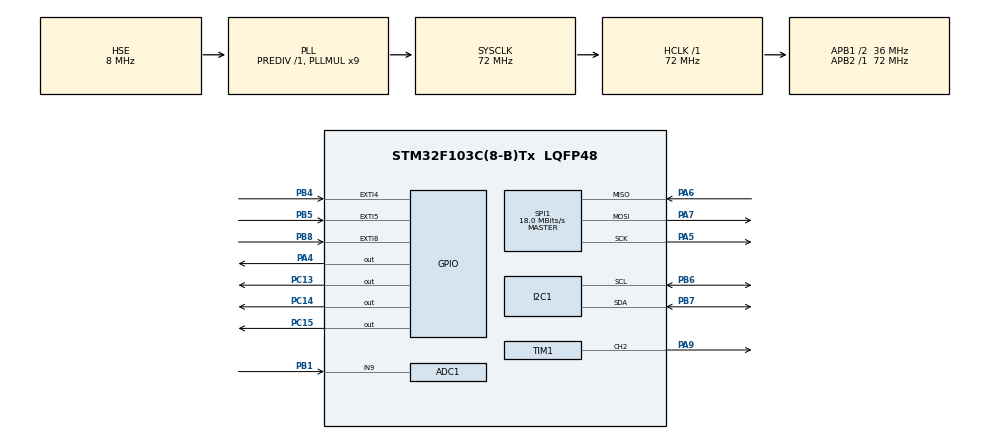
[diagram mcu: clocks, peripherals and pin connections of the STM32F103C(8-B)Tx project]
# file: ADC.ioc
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ADC1.Channel-0\#ChannelRegularConversion=ADC_CHANNEL_9
ADC1.ContinuousConvMode=ENABLE
ADC1.NbrOfConversion=1
ADC1.NbrOfConversionFlag=1
ADC1.Rank-0\#ChannelRegularConversion=1
ADC1.SamplingTime-0\#ChannelRegularConversion=ADC_SAMPLETIME_1CYCLE_5
ADC1.master=1
FATFS._MAX_SS=4096
FATFS._USE_LFN=1
I2C1.I2C_Mode=I2C_Fast
Mcu.Family=STM32F1
Mcu.Name=STM32F103C(8-B)Tx
Mcu.Package=LQFP48
NVIC.EXTI4_IRQn=true\:0\:0\:false\:false\:true\:true\:true\:true
NVIC.EXTI9_5_IRQn=true\:0\:0\:false\:false\:true\:true\:true\:true
NVIC.PriorityGroup=NVIC_PRIORITYGROUP_4
NVIC.TIM2_IRQn=true\:0\:0\:false\:false\:true\:true\:true\:true
PA13.Mode=Serial_Wire
PA13.Signal=SYS_JTMS-SWDIO
PA14.Mode=Serial_Wire
PA14.Signal=SYS_JTCK-SWCLK
PA4.Signal=GPIO_Output
PA5.Mode=Full_Duplex_Master
PA5.Signal=SPI1_SCK
PA6.Mode=Full_Duplex_Master
PA6.Signal=SPI1_MISO
PA7.Mode=Full_Duplex_Master
PA7.Signal=SPI1_MOSI
PA9.Signal=S_TIM1_CH2
PB1.Signal=ADCx_IN9
PB4.GPIO_PuPd=GPIO_PULLDOWN
PB4.Signal=GPXTI4
PB5.GPIO_PuPd=GPIO_PULLDOWN
PB5.Signal=GPXTI5
PB6.Mode=I2C
PB6.Signal=I2C1_SCL
PB7.Mode=I2C
PB7.Signal=I2C1_SDA
PB8.GPIO_ModeDefaultEXTI=GPIO_MODE_IT_RISING
PB8.GPIO_PuPd=GPIO_PULLDOWN
PB8.Signal=GPXTI8
PC13-TAMPER-RTC.Signal=GPIO_Output
PC14-OSC32_IN.Signal=GPIO_Output
PC15-OSC32_OUT.Signal=GPIO_Output
PD0-OSC_IN.Mode=HSE-External-Oscillator
PD0-OSC_IN.Signal=RCC_OSC_IN
PD1-OSC_OUT.Mode=HSE-External-Oscillator
PD1-OSC_OUT.Signal=RCC_OSC_OUT
ProjectManager.HeapSize=0x200
ProjectManager.StackSize=0x400
ProjectManager.TargetToolchain=STM32CubeIDE
RCC.ADCPresc=RCC_ADCPCLK2_DIV6
RCC.AHBFreq_Value=72000000
RCC.APB1CLKDivider=RCC_HCLK_DIV2
RCC.APB1Freq_Value=36000000
RCC.APB1TimFreq_Value=72000000
RCC.APB2Freq_Value=72000000
RCC.APB2TimFreq_Value=72000000
RCC.HCLKFreq_Value=72000000
RCC.PLLMUL=RCC_PLL_MUL9
RCC.PLLSourceVirtual=RCC_PLLSOURCE_HSE
RCC.SYSCLKFreq_VALUE=72000000
RCC.SYSCLKSource=RCC_SYSCLKSOURCE_PLLCLK
RCC.USBFreq_Value=72000000
SH.ADCx_IN9.0=ADC1_IN9,IN9
SH.S_TIM1_CH2.0=TIM1_CH2,PWM Generation2 CH2
SPI1.BaudRatePrescaler=SPI_BAUDRATEPRESCALER_4
SPI1.CalculateBaudRate=18.0 MBits/s
SPI1.Direction=SPI_DIRECTION_2LINES
SPI1.Mode=SPI_MODE_MASTER
SPI1.VirtualType=VM_MASTER
TIM1.Channel-PWM\ Generation2\ CH2=TIM_CHANNEL_2
TIM1.Period=20
TIM1.Prescaler=127
TIM2.AutoReloadPreload=TIM_AUTORELOAD_PRELOAD_DISABLE
TIM2.Period=200
TIM2.Prescaler=35999
TIM3.Period=20
TIM3.Prescaler=127
VP_FATFS_VS_Generic.Mode=User_defined
VP_TIM1_VS_ClockSourceINT.Mode=Internal
VP_TIM2_VS_ClockSourceINT.Mode=Internal
VP_TIM3_VS_ClockSourceINT.Mode=Internal
board=custom

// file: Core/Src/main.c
/* USER CODE BEGIN Header */
/**
  ******************************************************************************
  * @file           : main.c
  * @brief          : Main program body
  ******************************************************************************
  * @attention
  *
  * Copyright (c) 2023 STMicroelectronics.
  * All rights reserved.
  *
  * This software is licensed under terms that can be found in the LICENSE file
  * in the root directory of this software component.
  * If no LICENSE file comes with this software, it is provided AS-IS.
  *
  ******************************************************************************
  */
/* USER CODE END Header */
#include "main.h"
#include "fatfs.h"
#include "fonts.h"
#include"ssd1306_oled.h"
#include <stdio.h>
#include <stdbool.h>

ADC_HandleTypeDef hadc1;

I2C_HandleTypeDef hi2c1;

SPI_HandleTypeDef hspi1;

TIM_HandleTypeDef htim1;
TIM_HandleTypeDef htim2;
TIM_HandleTypeDef htim3;

/* USER CODE BEGIN PV */
FATFS fs;
FIL fil;
/* USER CODE END PV */

void SystemClock_Config(void);
static void MX_GPIO_Init(void);
static void MX_ADC1_Init(void);
static void MX_I2C1_Init(void);
static void MX_TIM2_Init(void);
static void MX_SPI1_Init(void);
static void MX_TIM3_Init(void);
static void MX_TIM1_Init(void);

/* USER CODE BEGIN 0 */

bool FirstTime = true;
uint16_t opcion = 1;
uint16_t timerValue = 0;  //TIEMPO EN MILISEGUNDOS
uint16_t timerSecond = 0; //TIEMPO EN SEGUNDOS
uint16_t SavedTime = 0;

char buf_oled[5] = " ";  //BUF PARA TIEMPO
char buf_oled2[5] = " "; //BUF PARA EL USUARIO, LO PUEDO USAR PARA MOSTRAR EL TIEMPO ya que el user lo guardo al inicio y despues no lo uso mas
char buf_shoot[5] = " "; // BUF PARA MOSTRAR DISPAROS
uint8_t user = 1;		//JUGADOR
uint16_t shoot = 0;    //DISPAROS
uint16_t timeshoot = 0; //PARA QUE NO SE PRODUZCAN DISPAROS EN LOS MISMOS 100MS
uint8_t SD = 0;
bool FirstTimeDelete = true;
/* USER CODE END 0 */

int main(void)
{

  /* MCU Configuration--------------------------------------------------------*/

  /* Reset of all peripherals, Initializes the Flash interface and the Systick. */
  HAL_Init();

  /* Configure the system clock */
  SystemClock_Config();

  /* Initialize all configured peripherals */
  MX_GPIO_Init();
  MX_ADC1_Init();
  MX_I2C1_Init();
  MX_TIM2_Init();
  MX_FATFS_Init();
  MX_SPI1_Init();
  MX_TIM3_Init();
  MX_TIM1_Init();
  /* USER CODE BEGIN 2 */
  HAL_TIM_PWM_Start(&htim1, TIM_CHANNEL_2);
  SSD1306_Init();
  /* USER CODE END 2 */

  /* Infinite loop */
  while (1)
  {

    /* USER CODE BEGIN 3 */

	  /* USER CODE END WHILE */
		  switch (opcion) {

				 case 1:
							   Show_Menu();
							   break;
				 case 2:

					 	 	  Run_App();

							   // instructions si val=val2
							   break;
				 case 3:

					 	 	 DeleteSD();
							 break;
				 case 4:

					 	 	 Final_Screen();
					 	 	 break;
				 default:

		       // instructions par défaut
		       break;
		   }

	    /* USER CODE BEGIN 3 */
	  }
  /* USER CODE END 3 */
}

void SystemClock_Config(void)
{
  RCC_OscInitTypeDef RCC_OscInitStruct = {0};
  RCC_ClkInitTypeDef RCC_ClkInitStruct = {0};
  RCC_PeriphCLKInitTypeDef PeriphClkInit = {0};

  /** Initializes the RCC Oscillators according to the specified parameters
  * in the RCC_OscInitTypeDef structure.
  */
  RCC_OscInitStruct.OscillatorType = RCC_OSCILLATORTYPE_HSE;
  RCC_OscInitStruct.HSEState = RCC_HSE_ON;
  RCC_OscInitStruct.HSEPredivValue = RCC_HSE_PREDIV_DIV1;
  RCC_OscInitStruct.HSIState = RCC_HSI_ON;
  RCC_OscInitStruct.PLL.PLLState = RCC_PLL_ON;
  RCC_OscInitStruct.PLL.PLLSource = RCC_PLLSOURCE_HSE;
  RCC_OscInitStruct.PLL.PLLMUL = RCC_PLL_MUL9;
  if (HAL_RCC_OscConfig(&RCC_OscInitStruct) != HAL_OK)
  {
    Error_Handler();
  }

  /** Initializes the CPU, AHB and APB buses clocks
  */
  RCC_ClkInitStruct.ClockType = RCC_CLOCKTYPE_HCLK|RCC_CLOCKTYPE_SYSCLK
                              |RCC_CLOCKTYPE_PCLK1|RCC_CLOCKTYPE_PCLK2;
  RCC_ClkInitStruct.SYSCLKSource = RCC_SYSCLKSOURCE_PLLCLK;
  RCC_ClkInitStruct.AHBCLKDivider = RCC_SYSCLK_DIV1;
  RCC_ClkInitStruct.APB1CLKDivider = RCC_HCLK_DIV2;
  RCC_ClkInitStruct.APB2CLKDivider = RCC_HCLK_DIV1;

  if (HAL_RCC_ClockConfig(&RCC_ClkInitStruct, FLASH_LATENCY_2) != HAL_OK)
  {
    Error_Handler();
  }
  PeriphClkInit.PeriphClockSelection = RCC_PERIPHCLK_ADC;
  PeriphClkInit.AdcClockSelection = RCC_ADCPCLK2_DIV6;
  if (HAL_RCCEx_PeriphCLKConfig(&PeriphClkInit) != HAL_OK)
  {
    Error_Handler();
  }
}

static void MX_ADC1_Init(void)
{

  ADC_ChannelConfTypeDef sConfig = {0};

  /** Common config
  */
  hadc1.Instance = ADC1;
  hadc1.Init.ScanConvMode = ADC_SCAN_DISABLE;
  hadc1.Init.ContinuousConvMode = ENABLE;
  hadc1.Init.DiscontinuousConvMode = DISABLE;
  hadc1.Init.ExternalTrigConv = ADC_SOFTWARE_START;
  hadc1.Init.DataAlign = ADC_DATAALIGN_RIGHT;
  hadc1.Init.NbrOfConversion = 1;
  if (HAL_ADC_Init(&hadc1) != HAL_OK)
  {
    Error_Handler();
  }

  /** Configure Regular Channel
  */
  sConfig.Channel = ADC_CHANNEL_9;
  sConfig.Rank = ADC_REGULAR_RANK_1;
  sConfig.SamplingTime = ADC_SAMPLETIME_1CYCLE_5;
  if (HAL_ADC_ConfigChannel(&hadc1, &sConfig) != HAL_OK)
  {
    Error_Handler();
  }

}

static void MX_I2C1_Init(void)
{

  hi2c1.Instance = I2C1;
  hi2c1.Init.ClockSpeed = 400000;
  hi2c1.Init.DutyCycle = I2C_DUTYCYCLE_2;
  hi2c1.Init.OwnAddress1 = 0;
  hi2c1.Init.AddressingMode = I2C_ADDRESSINGMODE_7BIT;
  hi2c1.Init.DualAddressMode = I2C_DUALADDRESS_DISABLE;
  hi2c1.Init.OwnAddress2 = 0;
  hi2c1.Init.GeneralCallMode = I2C_GENERALCALL_DISABLE;
  hi2c1.Init.NoStretchMode = I2C_NOSTRETCH_DISABLE;
  if (HAL_I2C_Init(&hi2c1) != HAL_OK)
  {
    Error_Handler();
  }

}

static void MX_SPI1_Init(void)
{

  /* SPI1 parameter configuration*/
  hspi1.Instance = SPI1;
  hspi1.Init.Mode = SPI_MODE_MASTER;
  hspi1.Init.Direction = SPI_DIRECTION_2LINES;
  hspi1.Init.DataSize = SPI_DATASIZE_8BIT;
  hspi1.Init.CLKPolarity = SPI_POLARITY_LOW;
  hspi1.Init.CLKPhase = SPI_PHASE_1EDGE;
  hspi1.Init.NSS = SPI_NSS_SOFT;
  hspi1.Init.BaudRatePrescaler = SPI_BAUDRATEPRESCALER_4;
  hspi1.Init.FirstBit = SPI_FIRSTBIT_MSB;
  hspi1.Init.TIMode = SPI_TIMODE_DISABLE;
  hspi1.Init.CRCCalculation = SPI_CRCCALCULATION_DISABLE;
  hspi1.Init.CRCPolynomial = 10;
  if (HAL_SPI_Init(&hspi1) != HAL_OK)
  {
    Error_Handler();
  }

}

static void MX_TIM1_Init(void)
{

  TIM_ClockConfigTypeDef sClockSourceConfig = {0};
  TIM_MasterConfigTypeDef sMasterConfig = {0};
  TIM_OC_InitTypeDef sConfigOC = {0};
  TIM_BreakDeadTimeConfigTypeDef sBreakDeadTimeConfig = {0};

  htim1.Instance = TIM1;
  htim1.Init.Prescaler = 127;
  htim1.Init.CounterMode = TIM_COUNTERMODE_UP;
  htim1.Init.Period = 20;
  htim1.Init.ClockDivision = TIM_CLOCKDIVISION_DIV1;
  htim1.Init.RepetitionCounter = 0;
  htim1.Init.AutoReloadPreload = TIM_AUTORELOAD_PRELOAD_DISABLE;
  if (HAL_TIM_Base_Init(&htim1) != HAL_OK)
  {
    Error_Handler();
  }
  sClockSourceConfig.ClockSource = TIM_CLOCKSOURCE_INTERNAL;
  if (HAL_TIM_ConfigClockSource(&htim1, &sClockSourceConfig) != HAL_OK)
  {
    Error_Handler();
  }
  if (HAL_TIM_PWM_Init(&htim1) != HAL_OK)
  {
    Error_Handler();
  }
  sMasterConfig.MasterOutputTrigger = TIM_TRGO_RESET;
  sMasterConfig.MasterSlaveMode = TIM_MASTERSLAVEMODE_DISABLE;
  if (HAL_TIMEx_MasterConfigSynchronization(&htim1, &sMasterConfig) != HAL_OK)
  {
    Error_Handler();
  }
  sConfigOC.OCMode = TIM_OCMODE_PWM1;
  sConfigOC.Pulse = 0;
  sConfigOC.OCPolarity = TIM_OCPOLARITY_HIGH;
  sConfigOC.OCNPolarity = TIM_OCNPOLARITY_HIGH;
  sConfigOC.OCFastMode = TIM_OCFAST_DISABLE;
  sConfigOC.OCIdleState = TIM_OCIDLESTATE_RESET;
  sConfigOC.OCNIdleState = TIM_OCNIDLESTATE_RESET;
  if (HAL_TIM_PWM_ConfigChannel(&htim1, &sConfigOC, TIM_CHANNEL_2) != HAL_OK)
  {
    Error_Handler();
  }
  sBreakDeadTimeConfig.OffStateRunMode = TIM_OSSR_DISABLE;
  sBreakDeadTimeConfig.OffStateIDLEMode = TIM_OSSI_DISABLE;
  sBreakDeadTimeConfig.LockLevel = TIM_LOCKLEVEL_OFF;
  sBreakDeadTimeConfig.DeadTime = 0;
  sBreakDeadTimeConfig.BreakState = TIM_BREAK_DISABLE;
  sBreakDeadTimeConfig.BreakPolarity = TIM_BREAKPOLARITY_HIGH;
  sBreakDeadTimeConfig.AutomaticOutput = TIM_AUTOMATICOUTPUT_DISABLE;
  if (HAL_TIMEx_ConfigBreakDeadTime(&htim1, &sBreakDeadTimeConfig) != HAL_OK)
  {
    Error_Handler();
  }
  HAL_TIM_MspPostInit(&htim1);

}

static void MX_TIM2_Init(void)
{

  TIM_ClockConfigTypeDef sClockSourceConfig = {0};
  TIM_MasterConfigTypeDef sMasterConfig = {0};

  htim2.Instance = TIM2;
  htim2.Init.Prescaler = 35999;
  htim2.Init.CounterMode = TIM_COUNTERMODE_UP;
  htim2.Init.Period = 200;
  htim2.Init.ClockDivision = TIM_CLOCKDIVISION_DIV1;
  htim2.Init.AutoReloadPreload = TIM_AUTORELOAD_PRELOAD_DISABLE;
  if (HAL_TIM_Base_Init(&htim2) != HAL_OK)
  {
    Error_Handler();
  }
  sClockSourceConfig.ClockSource = TIM_CLOCKSOURCE_INTERNAL;
  if (HAL_TIM_ConfigClockSource(&htim2, &sClockSourceConfig) != HAL_OK)
  {
    Error_Handler();
  }
  sMasterConfig.MasterOutputTrigger = TIM_TRGO_RESET;
  sMasterConfig.MasterSlaveMode = TIM_MASTERSLAVEMODE_DISABLE;
  if (HAL_TIMEx_MasterConfigSynchronization(&htim2, &sMasterConfig) != HAL_OK)
  {
    Error_Handler();
  }

}

static void MX_TIM3_Init(void)
{

  TIM_ClockConfigTypeDef sClockSourceConfig = {0};
  TIM_MasterConfigTypeDef sMasterConfig = {0};

  htim3.Instance = TIM3;
  htim3.Init.Prescaler = 127;
  htim3.Init.CounterMode = TIM_COUNTERMODE_UP;
  htim3.Init.Period = 20;
  htim3.Init.ClockDivision = TIM_CLOCKDIVISION_DIV1;
  htim3.Init.AutoReloadPreload = TIM_AUTORELOAD_PRELOAD_DISABLE;
  if (HAL_TIM_Base_Init(&htim3) != HAL_OK)
  {
    Error_Handler();
  }
  sClockSourceConfig.ClockSource = TIM_CLOCKSOURCE_INTERNAL;
  if (HAL_TIM_ConfigClockSource(&htim3, &sClockSourceConfig) != HAL_OK)
  {
    Error_Handler();
  }
  sMasterConfig.MasterOutputTrigger = TIM_TRGO_RESET;
  sMasterConfig.MasterSlaveMode = TIM_MASTERSLAVEMODE_DISABLE;
  if (HAL_TIMEx_MasterConfigSynchronization(&htim3, &sMasterConfig) != HAL_OK)
  {
    Error_Handler();
  }

}

static void MX_GPIO_Init(void)
{
  GPIO_InitTypeDef GPIO_InitStruct = {0};

  /* GPIO Ports Clock Enable */
  __HAL_RCC_GPIOC_CLK_ENABLE();
  __HAL_RCC_GPIOD_CLK_ENABLE();
  __HAL_RCC_GPIOA_CLK_ENABLE();
  __HAL_RCC_GPIOB_CLK_ENABLE();

  /*Configure GPIO pin Output Level */
  HAL_GPIO_WritePin(GPIOC, GPIO_PIN_13|GPIO_PIN_14|GPIO_PIN_15, GPIO_PIN_RESET);

  /*Configure GPIO pin Output Level */
  HAL_GPIO_WritePin(GPIOA, GPIO_PIN_4, GPIO_PIN_RESET);

  /*Configure GPIO pins : PC13 PC14 PC15 */
  GPIO_InitStruct.Pin = GPIO_PIN_13|GPIO_PIN_14|GPIO_PIN_15;
  GPIO_InitStruct.Mode = GPIO_MODE_OUTPUT_PP;
  GPIO_InitStruct.Pull = GPIO_NOPULL;
  GPIO_InitStruct.Speed = GPIO_SPEED_FREQ_LOW;
  HAL_GPIO_Init(GPIOC, &GPIO_InitStruct);

  /*Configure GPIO pin : PA4 */
  GPIO_InitStruct.Pin = GPIO_PIN_4;
  GPIO_InitStruct.Mode = GPIO_MODE_OUTPUT_PP;
  GPIO_InitStruct.Pull = GPIO_NOPULL;
  GPIO_InitStruct.Speed = GPIO_SPEED_FREQ_LOW;
  HAL_GPIO_Init(GPIOA, &GPIO_InitStruct);

  /*Configure GPIO pins : PB4 PB5 PB8 */
  GPIO_InitStruct.Pin = GPIO_PIN_4|GPIO_PIN_5|GPIO_PIN_8;
  GPIO_InitStruct.Mode = GPIO_MODE_IT_RISING;
  GPIO_InitStruct.Pull = GPIO_PULLDOWN;
  HAL_GPIO_Init(GPIOB, &GPIO_InitStruct);

  /* EXTI interrupt init*/
  HAL_NVIC_SetPriority(EXTI4_IRQn, 0, 0);
  HAL_NVIC_EnableIRQ(EXTI4_IRQn);

  HAL_NVIC_SetPriority(EXTI9_5_IRQn, 0, 0);
  HAL_NVIC_EnableIRQ(EXTI9_5_IRQn);

}

/* USER CODE BEGIN 4 */

void HAL_GPIO_EXTI_Callback(uint16_t GPIO_Pin)
{

	if (GPIO_Pin == GPIO_PIN_8 && timeshoot != timerValue) { //MICROFONO
		timeshoot =timerValue;
		SavedTime = timerSecond;
		shoot++;

	    }

	else if (GPIO_Pin == GPIO_PIN_5) {

				if (opcion != 2 && opcion != 4)  { // BOTON DE VOLVER

							SSD1306_Clear();

							opcion = 2;
							 }

				else if(opcion !=1 && opcion ==2){
					SSD1306_Clear();
					HAL_TIM_Base_Stop_IT(&htim2);

					opcion = 4;
				}

				else {

							SSD1306_Clear();
							opcion = 1;
							shoot =0;
							FirstTime = true;
						}
					}

	else if (GPIO_Pin == GPIO_PIN_4) { //BOTON

		if(opcion == 3){

			SSD1306_Clear();
			opcion = 1;
			FirstTimeDelete = true;
		}
		else if (opcion ==1){

			opcion = 3;

		}

	    }

}

void Show_Menu(){

	 	 	 	 	  SSD1306_GotoXY(3,5);
	  	  	  	  	  SSD1306_Puts("TIMER IPSC", &Font_7x10, WHITE);

	  	  	  	SSD1306_GotoXY(7,25);
	  	  	  		  	  	  	  	  SSD1306_Puts("1.INICIAR", &Font_7x10, WHITE);
	  	  	  	  	  SSD1306_GotoXY(7,45);

	  	  	  		  SSD1306_Puts("2.Borrar Datos SD", &Font_7x10, WHITE);

	  	  	  	  	  SSD1306_UpdateScreen();

}

void Run_App(){

			if(FirstTime == true){
						SSD1306_Clear();
						FirstTime = false;
						  SSD1306_GotoXY(3,5);
							SSD1306_Puts("TIMER IPSC", &Font_7x10, WHITE);
							HAL_GPIO_WritePin(GPIOC, GPIO_PIN_14, GPIO_PIN_SET);
							SSD1306_GotoXY(13,30);
							 SSD1306_Puts("Comenzara en 3s", &Font_7x10, BLACK);

								SSD1306_UpdateScreen();
								HAL_TIM_Base_Start_IT(&htim2);
								Speaker();

								SSD1306_Clear();

								SSD1306_GotoXY(110,6);
								sprintf(buf_oled2,"%u",user); //EN BUF_OLED2 GUARDO EL N USUARIO
								SSD1306_Puts(buf_oled2, &Font_7x10, BLACK);

								SSD1306_UpdateScreen();
								SSD1306_GotoXY(55,6);
								SSD1306_Puts("JUGADOR:", &Font_7x10, BLACK);
								SSD1306_GotoXY(48,35);
								SSD1306_Puts("DISPAROS: ", &Font_7x10, BLACK);

								SSD1306_UpdateScreen();

								UserSave();

								user++;

								SD = 0;
								SavedTime = 0;
								timerValue = 0;
								shoot = 0;
			}

 timerSecond = timerValue/10;

	SSD1306_GotoXY(5,20);
    sprintf(buf_oled,"%u",timerSecond);
    SSD1306_Puts(buf_oled, &Font_16x26, WHITE);

    SSD1306_GotoXY(110,35);
    sprintf(buf_shoot,"%u",shoot);   //ACA GUARDO LOS DISPAROS
    SSD1306_Puts(buf_shoot, &Font_7x10, BLACK);
    SSD1306_UpdateScreen();

}

void Speaker(){

	__HAL_TIM_SET_AUTORELOAD(&htim1, 600);
	__HAL_TIM_SET_COMPARE(&htim1, TIM_CHANNEL_2, 80); // Duty cycle al 25%

	 HAL_Delay(1000); // Espera durante 1 segundo
	 HAL_GPIO_WritePin(GPIOC, GPIO_PIN_14, GPIO_PIN_RESET);
	__HAL_TIM_SET_AUTORELOAD(&htim1, 1000);
	__HAL_TIM_SET_COMPARE(&htim1, TIM_CHANNEL_2, 0);

		HAL_Delay(1000);
		HAL_GPIO_WritePin(GPIOC, GPIO_PIN_14, GPIO_PIN_SET);
		__HAL_TIM_SET_AUTORELOAD(&htim1, 600);
	 __HAL_TIM_SET_COMPARE(&htim1, TIM_CHANNEL_2, 80); // Duty cycle al 25%
	HAL_Delay(1000); // Espera durante 1 segundo
	HAL_GPIO_WritePin(GPIOC, GPIO_PIN_14, GPIO_PIN_RESET);

	__HAL_TIM_SET_AUTORELOAD(&htim1, 1000);
	__HAL_TIM_SET_COMPARE(&htim1, TIM_CHANNEL_2, 0);
    HAL_Delay(1000);

	HAL_GPIO_WritePin(GPIOC, GPIO_PIN_14, GPIO_PIN_SET);
	__HAL_TIM_SET_COMPARE(&htim1, TIM_CHANNEL_2, 80); // Duty cycle al 25%
	HAL_Delay(1000); // Espera durante 1 segundo
	HAL_GPIO_WritePin(GPIOC, GPIO_PIN_14, GPIO_PIN_RESET);
	__HAL_TIM_SET_AUTORELOAD(&htim1, 1000);
	__HAL_TIM_SET_COMPARE(&htim1, TIM_CHANNEL_2, 0);

}

void UserSave(){

											f_mount(&fs, "", 0);  //prepara la tarjeta de memoria o el dispositivo de almacenamiento para su uso.
	  										 f_open(&fil, "write.txt", FA_OPEN_ALWAYS | FA_WRITE | FA_READ);
	  										 f_lseek(&fil, fil.fsize);  // // Esta línea de código ajusta la posición del puntero de lectura/escritura en el archivo al final del archivo actual.
	  										 f_puts("JUGARDOR NUM: ", &fil);
	  										f_puts(buf_oled2, &fil);
	  										f_puts("-\n ", &fil);
	  										 f_close(&fil);

}

void Final_Screen(){

	   	SSD1306_GotoXY(2,5);
	    SSD1306_Puts("Final_Juego", &Font_11x18, BLACK);
	    SSD1306_UpdateScreen();

	    SSD1306_GotoXY(2,30);
	    SSD1306_Puts("TIEMPO", &Font_7x10, WHITE);
	    SSD1306_UpdateScreen();

	    SSD1306_GotoXY(2,45);
	 	SSD1306_Puts("DISPAROS:", &Font_7x10, WHITE);

	    SSD1306_GotoXY(59,45);
	 	SSD1306_Puts(buf_shoot, &Font_7x10, WHITE);

		SSD1306_GotoXY(60,30);
		sprintf(buf_oled2,"%u",SavedTime); //EN BUF_OLED2 AHORA VOY A GUARDAR EL TIEMPO
		SSD1306_Puts(buf_oled2, &Font_7x10, WHITE);

	    SSD1306_UpdateScreen();

		if(SD==0){
			SD = 1;
			SaveGameSD();
		}

	    if(opcion ==1){

	    	SSD1306_Clear();
	    }

}

void SaveGameSD(){

	f_mount(&fs, "", 0);  //prepara la tarjeta de memoria o el dispositivo de almacenamiento para su uso.
	f_open(&fil, "write.txt", FA_OPEN_ALWAYS | FA_WRITE | FA_READ);
	f_lseek(&fil, fil.fsize);  // // Esta línea de código ajusta la posición del puntero de lectura/escritura en el archivo al final del archivo actual.
	f_puts("Tiempo ", &fil);
	f_puts(buf_oled2, &fil);
	f_puts(" Segundos ", &fil);

	f_puts("\n", &fil);
	f_puts("Disparos ", &fil);
	f_puts(buf_shoot, &fil);

	f_puts("\n", &fil);
	f_puts("Puntaje ", &fil);

	f_puts("\n", &fil);
	f_close(&fil);

}

void DeleteSD(){

	if(FirstTimeDelete == true){
		SSD1306_Clear();
		f_mount(&fs, "", 0);
		f_open(&fil, "write.txt", FA_CREATE_ALWAYS | FA_WRITE);
		f_close(&fil);
		FirstTimeDelete = false;

	}

	SSD1306_GotoXY(3,5);
	SSD1306_Puts("TIMER IPSC", &Font_7x10, WHITE);

	SSD1306_GotoXY(8,35);
	SSD1306_Puts("DATOS ELIMINADOS: ", &Font_7x10, BLACK);
	SSD1306_UpdateScreen();

	if(opcion ==1){

		    	SSD1306_Clear();
		    }

}

void HAL_TIM_PeriodElapsedCallback(TIM_HandleTypeDef *htim) {
    if (htim->Instance == TIM2) {
        timerValue++; // Incrementa el tiempo transcurrido cada vez que se llama esta función de callback.
    }
}

/* USER CODE END 4 */

void Error_Handler(void)
{
  __disable_irq();
  while (1)
  {
  }
}
